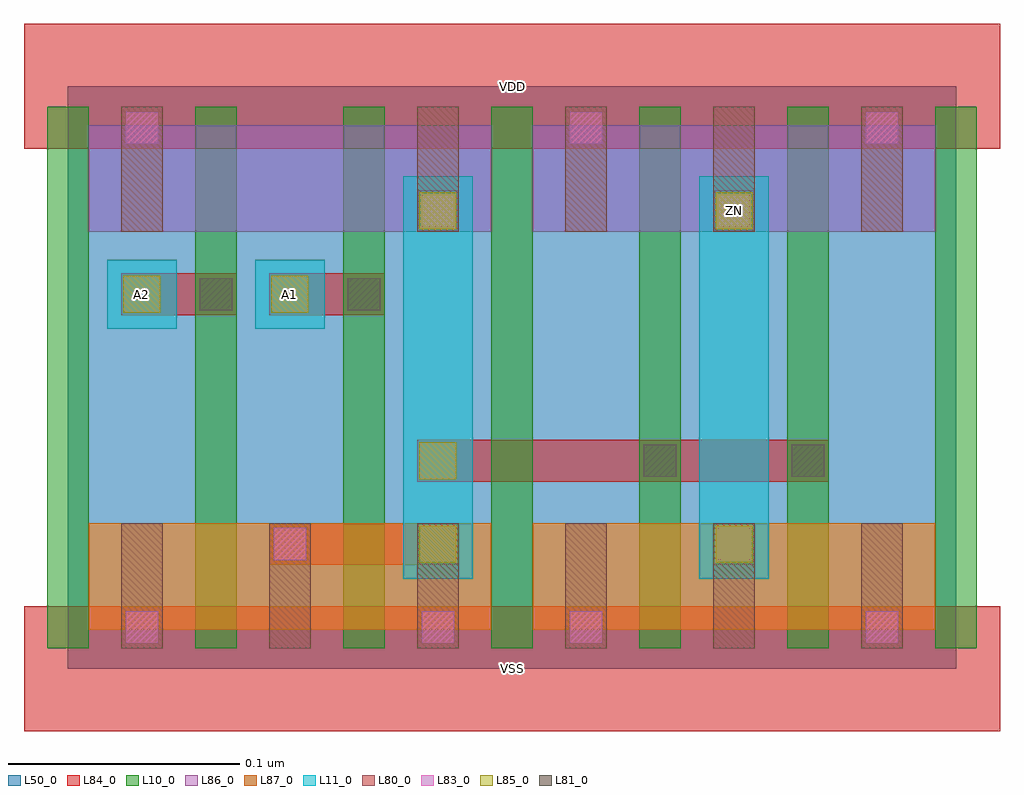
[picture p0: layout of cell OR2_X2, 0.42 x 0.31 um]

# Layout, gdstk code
import gdstk
lib = gdstk.Library(unit=1e-6, precision=1e-09)
def R(c, l, rs):  # rectangles x0, y0, x1, y1
    for r in rs: c.add(gdstk.rectangle(r[:2], r[2:], *l))
def A(c, l, x, y, w, h, nx, ny, dx, dy):  # array of equal rectangles
    R(c, l, [(x+i*dx, y+j*dy, x+i*dx+w, y+j*dy+h) for i in range(nx) for j in range(ny)])
L10_0 = (10, 0)
L11_0 = (11, 0)
L50_0 = (50, 0)
L80_0 = (80, 0)
L81_0 = (81, 0)
L83_0 = (83, 0)
L84_0 = (84, 0)
L85_0 = (85, 0)
L86_0 = (86, 0)
L87_0 = (87, 0)

or2_x2 = lib.new_cell('OR2_X2')
A(or2_x2, L10_0, -0.009, 0.009, 0.018, 0.234, 7, 1, 0.064, 0)
R(or2_x2, L11_0, [(0.145,0.039,0.175,0.213), (0.273,0.039,0.303,0.213), (0.017,0.147,0.047,0.177), (0.081,0.147,0.111,0.177)])
R(or2_x2, L50_0, [(0,0,0.384,0.252)])
A(or2_x2, L80_0, 0.023, 0.009, 0.018, 0.054, 6, 1, 0.064, 0)
A(or2_x2, L80_0, 0.151, 0.189, 0.018, 0.054, 4, 1, 0.064, 0)
R(or2_x2, L80_0, [(0.023,0.189,0.041,0.243)])
R(or2_x2, L81_0, [(0.249,0.083,0.263,0.097), (0.313,0.083,0.327,0.097), (0.057,0.155,0.071,0.169), (0.121,0.155,0.135,0.169)])
R(or2_x2, L83_0, [(0.025,0.011,0.039,0.025), (0.153,0.011,0.167,0.025), (0.217,0.011,0.231,0.025), (0.345,0.011,0.359,0.025), (0.089,0.047,0.103,0.061), (0.281,0.047,0.295,0.061), (0.153,0.191,0.167,0.205), (0.281,0.191,0.295,0.205), (0.025,0.227,0.039,0.241), (0.217,0.227,0.231,0.241), (0.345,0.227,0.359,0.241)])
R(or2_x2, L84_0, [(-0.019,-0.027,0.403,0.027), (0.087,0.045,0.169,0.063), (0.279,0.045,0.297,0.063), (0.151,0.081,0.329,0.099), (0.023,0.153,0.073,0.171), (0.087,0.153,0.137,0.171), (0.151,0.189,0.169,0.207), (0.279,0.189,0.297,0.207), (-0.019,0.225,0.403,0.279)])
R(or2_x2, L85_0, [(0.152,0.046,0.168,0.062), (0.28,0.046,0.296,0.062), (0.152,0.082,0.168,0.098), (0.024,0.154,0.04,0.17), (0.088,0.154,0.104,0.17), (0.152,0.19,0.168,0.206), (0.28,0.19,0.296,0.206)])
R(or2_x2, L86_0, [(0.009,0.189,0.183,0.235), (0.201,0.189,0.375,0.235)])
R(or2_x2, L87_0, [(0.009,0.017,0.183,0.063), (0.201,0.017,0.375,0.063)])
or2_x2.add(gdstk.Label('VDD', (0.192,0.252), layer=88, texttype=0))
or2_x2.add(gdstk.Label('VSS', (0.192,0), layer=88, texttype=0))
or2_x2.add(gdstk.Label('ZN', (0.288,0.198), layer=31, texttype=0))
or2_x2.add(gdstk.Label('A2', (0.032,0.162), layer=31, texttype=0))
or2_x2.add(gdstk.Label('A1', (0.096,0.162), layer=31, texttype=0))

lib.write_gds('OR2_X2.gds')
